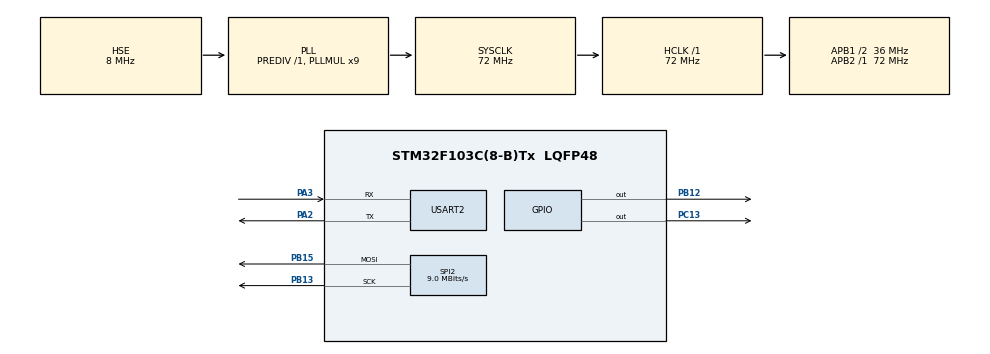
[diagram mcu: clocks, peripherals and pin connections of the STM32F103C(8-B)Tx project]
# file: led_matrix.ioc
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Dma.Request0=SPI2_TX
Dma.Request1=USART2_RX
Dma.SPI2_TX.0.Direction=DMA_MEMORY_TO_PERIPH
Dma.SPI2_TX.0.Instance=DMA1_Channel5
Dma.SPI2_TX.0.MemDataAlignment=DMA_MDATAALIGN_BYTE
Dma.SPI2_TX.0.MemInc=DMA_MINC_ENABLE
Dma.SPI2_TX.0.Mode=DMA_NORMAL
Dma.SPI2_TX.0.PeriphDataAlignment=DMA_PDATAALIGN_BYTE
Dma.SPI2_TX.0.PeriphInc=DMA_PINC_DISABLE
Dma.SPI2_TX.0.Priority=DMA_PRIORITY_LOW
Dma.USART2_RX.1.Direction=DMA_PERIPH_TO_MEMORY
Dma.USART2_RX.1.Instance=DMA1_Channel6
Dma.USART2_RX.1.MemDataAlignment=DMA_MDATAALIGN_BYTE
Dma.USART2_RX.1.MemInc=DMA_MINC_ENABLE
Dma.USART2_RX.1.Mode=DMA_NORMAL
Dma.USART2_RX.1.PeriphDataAlignment=DMA_PDATAALIGN_BYTE
Dma.USART2_RX.1.PeriphInc=DMA_PINC_DISABLE
Dma.USART2_RX.1.Priority=DMA_PRIORITY_LOW
Mcu.Family=STM32F1
Mcu.Name=STM32F103C(8-B)Tx
Mcu.Package=LQFP48
NVIC.DMA1_Channel5_IRQn=true\:0\:0\:false\:false\:true\:false\:true
NVIC.DMA1_Channel6_IRQn=true\:0\:0\:false\:false\:true\:false\:true
NVIC.PriorityGroup=NVIC_PRIORITYGROUP_4
NVIC.SPI2_IRQn=true\:0\:0\:false\:false\:true\:true\:true
NVIC.USART2_IRQn=true\:0\:0\:false\:false\:true\:true\:true
PA13.Mode=Serial_Wire
PA13.Signal=SYS_JTMS-SWDIO
PA14.Mode=Serial_Wire
PA14.Signal=SYS_JTCK-SWCLK
PA2.Mode=Asynchronous
PA2.Signal=USART2_TX
PA3.Mode=Asynchronous
PA3.Signal=USART2_RX
PB12.Signal=GPIO_Output
PB13.Mode=TX_Only_Simplex_Unidirect_Master
PB13.Signal=SPI2_SCK
PB14.Signal=SPI2_MISO
PB15.Mode=TX_Only_Simplex_Unidirect_Master
PB15.Signal=SPI2_MOSI
PC13-TAMPER-RTC.Signal=GPIO_Output
PD0-OSC_IN.Mode=HSE-External-Oscillator
PD0-OSC_IN.Signal=RCC_OSC_IN
PD1-OSC_OUT.Mode=HSE-External-Oscillator
PD1-OSC_OUT.Signal=RCC_OSC_OUT
ProjectManager.HeapSize=0x200
ProjectManager.StackSize=0x400
ProjectManager.TargetToolchain=STM32CubeIDE
RCC.AHBFreq_Value=72000000
RCC.APB1CLKDivider=RCC_HCLK_DIV2
RCC.APB1Freq_Value=36000000
RCC.APB1TimFreq_Value=72000000
RCC.APB2Freq_Value=72000000
RCC.APB2TimFreq_Value=72000000
RCC.HCLKFreq_Value=72000000
RCC.PLLMUL=RCC_PLL_MUL9
RCC.PLLSourceVirtual=RCC_PLLSOURCE_HSE
RCC.SYSCLKFreq_VALUE=72000000
RCC.SYSCLKSource=RCC_SYSCLKSOURCE_PLLCLK
RCC.USBFreq_Value=72000000
SPI2.BaudRatePrescaler=SPI_BAUDRATEPRESCALER_4
SPI2.CalculateBaudRate=9.0 MBits/s
SPI2.Direction=SPI_DIRECTION_2LINES
SPI2.Mode=SPI_MODE_MASTER
SPI2.VirtualType=VM_MASTER
USART2.VirtualMode=VM_ASYNC
board=custom

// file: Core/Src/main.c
/* USER CODE BEGIN Header */
/**
  ******************************************************************************
  * @file           : main.c
  * @brief          : Main program body
  ******************************************************************************
  * @attention
  *
  * <h2><center>&copy; Copyright (c) 2023 STMicroelectronics.
  * All rights reserved.</center></h2>
  *
  * This software component is licensed by ST under BSD 3-Clause license,
  * the "License"; You may not use this file except in compliance with the
  * License. You may obtain a copy of the License at:
  *                        opensource.org/licenses/BSD-3-Clause
  *
  ******************************************************************************
  */
/* USER CODE END Header */
#include "main.h"

/* USER CODE BEGIN Includes */
#include "stdio.h"
#include "stdlib.h"
/* USER CODE END Includes */

/* USER CODE BEGIN PD */
#define NUM_HOR_MODULE		4 		// number of horizontal modules
#define SPEED				80		// character running speed (ms)
#define NUM_CHAR			100		// maximum number of character
// Max7219's registers address
#define MAX7219_REG_ADD_DECODEMODE		0x09
#define MAX7219_REG_ADD_INTENSITY		0x0A
#define MAX7219_REG_ADD_SCANLIMIT		0x0B
#define MAX7219_REG_ADD_SHUTDOWN		0x0C
#define MAX7219_REG_ADD_DISPLAYTEST		0x0F

// Shutdown register's value
#define MAX7219_SHUTDOWN_MODE			0x00
#define MAX7219_NO_SHUTDOWN_MODE		0x01

// Decode-mode register's value
// what digits will be decoded
#define MAX7219_NO_DECODE				0x00
#define MAX7219_DECODE_DIGIT_0			0x01
#define MAX7219_DECODE_DIGIT_3_0		0x0F
#define MAX7219_DECODE_ALL_DIGIT		0xFF

// Intensity register's value
// Level of intensity
#define MAX7219_INTENSITY_1_32			0x00
#define MAX7219_INTENSITY_3_32			0x01
#define MAX7219_INTENSITY_5_32			0x02
#define MAX7219_INTENSITY_7_32			0x03
#define MAX7219_INTENSITY_9_32			0x04
#define MAX7219_INTENSITY_11_32			0x05
#define MAX7219_INTENSITY_13_32			0x06
#define MAX7219_INTENSITY_15_32			0x07
#define MAX7219_INTENSITY_17_32			0x08
#define MAX7219_INTENSITY_19_32			0x09
#define MAX7219_INTENSITY_21_32			0x0A
#define MAX7219_INTENSITY_23_32			0x0B
#define MAX7219_INTENSITY_25_32			0x0C
#define MAX7219_INTENSITY_27_32			0x0D
#define MAX7219_INTENSITY_29_32			0x0E
#define MAX7219_INTENSITY_31_32			0x0F

// Scan-limit register's value
// Number of displayed digit, start from digit 0
#define MAX7219_DISPLAY_1_DIGIT			0x00
#define MAX7219_DISPLAY_2_DIGIT			0x01
#define MAX7219_DISPLAY_3_DIGIT			0x02
#define MAX7219_DISPLAY_4_DIGIT			0x03
#define MAX7219_DISPLAY_5_DIGIT			0x04
#define MAX7219_DISPLAY_6_DIGIT			0x05
#define MAX7219_DISPLAY_7_DIGIT			0x06
#define MAX7219_DISPLAY_8_DIGIT			0x07

// Display-test register's value
#define MAX7219_DISPLAY_NORMAL			0x00
#define MAX7219_DISPLAY_TEST			0x01

/* USER CODE END PD */

SPI_HandleTypeDef hspi2;
DMA_HandleTypeDef hdma_spi2_tx;

UART_HandleTypeDef huart2;
DMA_HandleTypeDef hdma_usart2_rx;

/* USER CODE BEGIN PV */
//8px by 8px, row major, little endian
const uint8_t FONT [128][8] = {
	    { 0x00, 0x00, 0x00, 0x00, 0x00, 0x00, 0x00, 0x00},	// U+0000 (nul)
	    { 0x00, 0x00, 0x00, 0x00, 0x00, 0x00, 0x00, 0x00},  // U+0001
	    { 0x00, 0x00, 0x00, 0x00, 0x00, 0x00, 0x00, 0x00},  // U+0002
	    { 0x00, 0x00, 0x00, 0x00, 0x00, 0x00, 0x00, 0x00},  // U+0003
	    { 0x00, 0x00, 0x00, 0x00, 0x00, 0x00, 0x00, 0x00},  // U+0004
	    { 0x00, 0x00, 0x00, 0x00, 0x00, 0x00, 0x00, 0x00},  // U+0005
	    { 0x00, 0x00, 0x00, 0x00, 0x00, 0x00, 0x00, 0x00},  // U+0006
	    { 0x00, 0x00, 0x00, 0x00, 0x00, 0x00, 0x00, 0x00},  // U+0007
	    { 0x00, 0x00, 0x00, 0x00, 0x00, 0x00, 0x00, 0x00},  // U+0008
	    { 0x00, 0x00, 0x00, 0x00, 0x00, 0x00, 0x00, 0x00},  // U+0009
	    { 0x00, 0x00, 0x00, 0x00, 0x00, 0x00, 0x00, 0x00},  // U+000A
	    { 0x00, 0x00, 0x00, 0x00, 0x00, 0x00, 0x00, 0x00},  // U+000B
	    { 0x00, 0x00, 0x00, 0x00, 0x00, 0x00, 0x00, 0x00},  // U+000C
	    { 0x00, 0x00, 0x00, 0x00, 0x00, 0x00, 0x00, 0x00},  // U+000D
	    { 0x00, 0x00, 0x00, 0x00, 0x00, 0x00, 0x00, 0x00},  // U+000E
	    { 0x00, 0x00, 0x00, 0x00, 0x00, 0x00, 0x00, 0x00},  // U+000F
	    { 0x00, 0x00, 0x00, 0x00, 0x00, 0x00, 0x00, 0x00},  // U+0010
	    { 0x00, 0x00, 0x00, 0x00, 0x00, 0x00, 0x00, 0x00},  // U+0011
	    { 0x00, 0x00, 0x00, 0x00, 0x00, 0x00, 0x00, 0x00},  // U+0012
	    { 0x00, 0x00, 0x00, 0x00, 0x00, 0x00, 0x00, 0x00},  // U+0013
	    { 0x00, 0x00, 0x00, 0x00, 0x00, 0x00, 0x00, 0x00},  // U+0014
	    { 0x00, 0x00, 0x00, 0x00, 0x00, 0x00, 0x00, 0x00},  // U+0015
	    { 0x00, 0x00, 0x00, 0x00, 0x00, 0x00, 0x00, 0x00},  // U+0016
	    { 0x00, 0x00, 0x00, 0x00, 0x00, 0x00, 0x00, 0x00},  // U+0017
	    { 0x00, 0x00, 0x00, 0x00, 0x00, 0x00, 0x00, 0x00},  // U+0018
	    { 0x00, 0x00, 0x00, 0x00, 0x00, 0x00, 0x00, 0x00},  // U+0019
	    { 0x00, 0x00, 0x00, 0x00, 0x00, 0x00, 0x00, 0x00},  // U+001A
	    { 0x00, 0x00, 0x00, 0x00, 0x00, 0x00, 0x00, 0x00},  // U+001B
	    { 0x00, 0x00, 0x00, 0x00, 0x00, 0x00, 0x00, 0x00},  // U+001C
	    { 0x00, 0x00, 0x00, 0x00, 0x00, 0x00, 0x00, 0x00},  // U+001D
	    { 0x00, 0x00, 0x00, 0x00, 0x00, 0x00, 0x00, 0x00},  // U+001E
	    { 0x00, 0x00, 0x00, 0x00, 0x00, 0x00, 0x00, 0x00},  // U+001F
	    { 0x00, 0x00, 0x00, 0x00, 0x00, 0x00, 0x00, 0x00},	// U+0020 (space)
		{0x00,0x04,0x04,0x04,0x04,0x04,0x00,0x04},			// U+0021 (!)
		{0x00,0x36,0x36,0x12,0x00,0x00,0x00,0x00},			// U+0022 (")
		{0x00,0x14,0x3E,0x14,0x14,0x3E,0x14,0x00},			// U+0023 (#)
		{0x00,0x04,0x1C,0x02,0x0C,0x10,0x0E,0x08},			// U+0024 ($)
		{0x00,0x26,0x26,0x10,0x08,0x04,0x32,0x32},			// U+0025 (%)
		{0x00,0x04,0x0A,0x0A,0x04,0x2A,0x12,0x2C},			// U+0026 (&)
		{0x00,0x0C,0x0C,0x04,0x00,0x00,0x00,0x00},			// U+0027 (')
		{0x00,0x08,0x04,0x04,0x04,0x04,0x04,0x08},			// U+0028 (()
		{0x00,0x04,0x08,0x08,0x08,0x08,0x08,0x04},			// U+0029 ())
		{0x00,0x00,0x2A,0x1C,0x3E,0x1C,0x2A,0x00},			// U+001A (*)
		{0x00,0x00,0x08,0x08,0x3E,0x08,0x08,0x00},			// U+001B (+)
		{0x00,0x00,0x00,0x00,0x00,0x0C,0x08,0x04},			// U+001C (,)
		{0x00,0x00,0x00,0x00,0x3E,0x00,0x00,0x00},			// U+001D (-)
		{0x00,0x00,0x00,0x00,0x00,0x00,0x0C,0x0C},			// U+001E (.)
		{0x00,0x00,0x20,0x10,0x08,0x04,0x02,0x00},			// U+001E (/)
		{0x00,0x1C,0x22,0x32,0x2A,0x26,0x22,0x1C},   		// U+0030 (0)
		{0x00,0x08,0x0C,0x08,0x08,0x08,0x08,0x1C},   		// U+0031 (1)
	    {0x00,0x1C,0x22,0x20,0x18,0x04,0x02,0x3E},   		// U+0032 (2)
	    {0x00,0x1C,0x22,0x20,0x1C,0x20,0x22,0x1C},   		// U+0033 (3)
	    {0x00,0x10,0x18,0x14,0x12,0x3E,0x10,0x10},   		// U+0034 (4)
	    {0x00,0x3E,0x02,0x02,0x1E,0x20,0x22,0x1C},   		// U+0035 (5)
	    {0x00,0x18,0x04,0x02,0x1E,0x22,0x22,0x1C},   		// U+0036 (6)
	    {0x00,0x3E,0x20,0x10,0x08,0x04,0x04,0x04},   		// U+0037 (7)
	    {0x00,0x1C,0x22,0x22,0x1C,0x22,0x22,0x1C},   		// U+0038 (8)
	    {0x00,0x1C,0x22,0x22,0x3C,0x20,0x10,0x0C},   		// U+0039 (9)
		{0x00,0x00,0x00,0x0C,0x0C,0x00,0x0C,0x0C},   		// U+003A (:)
		{0x00,0x00,0x0C,0x0C,0x00,0x0C,0x08,0x04},   		// U+003B (;)
		{0x00,0x10,0x08,0x04,0x02,0x04,0x08,0x10},   		// U+003C (<)
		{0x00,0x00,0x00,0x3E,0x00,0x00,0x3E,0x00},   		// U+003D (=)
		{0x00,0x04,0x08,0x10,0x20,0x10,0x08,0x04},   		// U+003E (>)
		{0x00,0x1C,0x22,0x20,0x18,0x08,0x00,0x08},   		// U+003F (?)
		{0x00,0x1C,0x22,0x3A,0x2A,0x3A,0x02,0x1C},   		// U+0040 (@)
		{0x00,0x1C,0x22,0x22,0x22,0x3E,0x22,0x22},			// U+0041 (A)
		{0x00,0x1E,0x22,0x22,0x1E,0x22,0x22,0x1E},			// U+0042 (B)
		{0x00,0x1C,0x22,0x02,0x02,0x02,0x22,0x1C},			// U+0043 (C)
		{0x00,0x1E,0x22,0x22,0x22,0x22,0x22,0x1E},   		// U+0044 (D)
		{0x00,0x3E,0x02,0x02,0x1E,0x02,0x02,0x3E},   		// U+0045 (E)
		{0x00,0x3E,0x02,0x02,0x1E,0x02,0x02,0x02},   		// U+0046 (F)
		{0x00,0x1C,0x22,0x02,0x3A,0x22,0x22,0x3C},   		// U+0047 (G)
		{0x00,0x22,0x22,0x22,0x3E,0x22,0x22,0x22},   		// U+0048 (H)
		{0x00,0x1C,0x08,0x08,0x08,0x08,0x08,0x1C},   		// U+0049 (I)
		{0x00,0x20,0x20,0x20,0x20,0x22,0x22,0x1C},   		// U+004A (J)
		{0x00,0x22,0x12,0x0A,0x06,0x0A,0x12,0x22},   		// U+004B (K)
		{0x00,0x02,0x02,0x02,0x02,0x02,0x02,0x3E},   		// U+004C (L)
		{0x00,0x22,0x36,0x2A,0x22,0x22,0x22,0x22},   		// U+004D (M)
		{0x00,0x22,0x26,0x2A,0x32,0x22,0x22,0x22},   		// U+004E (N)
		{0x00,0x1C,0x22,0x22,0x22,0x22,0x22,0x1C},   		// U+004F (O)
		{0x00,0x1E,0x22,0x22,0x1E,0x02,0x02,0x02},   		// U+0050 (P)
		{0x00,0x1C,0x22,0x22,0x22,0x2A,0x12,0x2C},   		// U+0051 (Q)
		{0x00,0x1E,0x22,0x22,0x1E,0x12,0x22,0x22},   		// U+0052 (R)
		{0x00,0x1C,0x22,0x02,0x1C,0x20,0x22,0x1C},   		// U+0053 (S)
		{0x00,0x3E,0x08,0x08,0x08,0x08,0x08,0x08},   		// U+0054 (T)
		{0x00,0x22,0x22,0x22,0x22,0x22,0x22,0x1C},  		// U+0055 (U)
		{0x00,0x22,0x22,0x22,0x22,0x22,0x14,0x08},   		// U+0056 (V)
		{0x00,0x22,0x22,0x2A,0x2A,0x2A,0x2A,0x14}, 			// U+0057 (W)
		{0x00,0x22,0x22,0x14,0x08,0x14,0x22,0x22}, 	  		// U+0058 (X)
		{0x00,0x22,0x22,0x22,0x14,0x08,0x08,0x08},   		// U+0059 (Y)
		{0x00,0x1E,0x10,0x08,0x04,0x02,0x02,0x1E},   		// U+005A (Z)
		{0x00,0x0C,0x04,0x04,0x04,0x04,0x04,0x0C},   		// U+005B ([)
		{0x00,0x00,0x02,0x04,0x08,0x10,0x20,0x00},   		// U+005C (\)
		{0x00,0x18,0x10,0x10,0x10,0x10,0x10,0x18},   		// U+005D (])
		{0x00,0x08,0x14,0x22,0x00,0x00,0x00,0x00},   		// U+005E (^)
		{0x00,0x00,0x00,0x00,0x00,0x00,0x00,0x3E},   		// U+005F (_)
		{0x00,0x02,0x04,0x00,0x00,0x00,0x00,0x00},   		// U+0060 (`)
		{0x00,0x00,0x00,0x1C,0x20,0x3C,0x22,0x3C},   		// U+0061 (a)
		{0x00,0x02,0x02,0x1E,0x22,0x22,0x22,0x1E},  		// U+0062 (b)
		{0x00,0x00,0x00,0x1C,0x02,0x02,0x02,0x1C},   		// U+0063 (c)
		{0x00,0x20,0x20,0x3C,0x22,0x22,0x22,0x3C},   		// U+0064 (d)
		{0x00,0x00,0x00,0x1C,0x22,0x1E,0x02,0x1C},   		// U+0065 (e)
		{0x00,0x18,0x04,0x04,0x1E,0x04,0x04,0x04},   		// U+0066 (f)
		{0x00,0x00,0x3C,0x22,0x22,0x3C,0x20,0x1C},   		// U+0067 (g)
		{0x00,0x02,0x02,0x0E,0x12,0x12,0x12,0x12},   		// U+0068 (h)
		{0x00,0x08,0x00,0x08,0x08,0x08,0x08,0x18},   		// U+0069 (i)
		{0x10,0x00,0x18,0x10,0x10,0x10,0x12,0x0C},   		// U+006A (j)
		{0x00,0x02,0x02,0x12,0x0A,0x06,0x0A,0x12},   		// U+006B (k)
		{0x00,0x08,0x08,0x08,0x08,0x08,0x08,0x18},   		// U+006C (l)
		{0x00,0x00,0x00,0x16,0x2A,0x2A,0x22,0x22},   		// U+006D (m)
		{0x00,0x00,0x00,0x0E,0x12,0x12,0x12,0x12},   		// U+006E (n)
		{0x00,0x00,0x00,0x1C,0x22,0x22,0x22,0x1C},   		// U+006F (o)
		{0x00,0x00,0x1E,0x22,0x22,0x1E,0x02,0x02},   		// U+0070 (p)
		{0x00,0x00,0x3C,0x22,0x22,0x3C,0x20,0x20},   		// U+0071 (q)
		{0x00,0x00,0x00,0x1A,0x24,0x04,0x04,0x0E},   		// U+0072 (r)
		{0x00,0x00,0x00,0x1C,0x02,0x1C,0x20,0x1C},   		// U+0073 (s)
		{0x00,0x00,0x04,0x1E,0x04,0x04,0x14,0x08},  		// U+0074 (t)
		{0x00,0x00,0x00,0x12,0x12,0x12,0x1A,0x14},  		// U+0075 (u)
		{0x00,0x00,0x00,0x22,0x22,0x22,0x14,0x08},   		// U+0076 (v)
		{0x00,0x00,0x00,0x22,0x22,0x2A,0x3E,0x14},   		// U+0077 (w)
		{0x00,0x00,0x00,0x12,0x12,0x0C,0x12,0x12},   		// U+0078 (x)
		{0x00,0x00,0x12,0x12,0x12,0x1C,0x08,0x06},   		// U+0079 (y)
		{0x00,0x00,0x00,0x1E,0x10,0x0C,0x02,0x1E},   		// U+007A (z)
		{0x00,0x18,0x04,0x04,0x06,0x04,0x04,0x18},   		// U+007B ({)
		{0x00,0x08,0x08,0x08,0x08,0x08,0x08,0x08},   		// U+007C (|)
		{0x00,0x0c,0x10,0x10,0x30,0x10,0x10,0x0c},   		// U+007D (})
		{0x00,0x14,0x0a,0x00,0x00,0x00,0x00,0x00},   		// U+007E (~)
		{0x00,0x00,0x00,0x00,0x00,0x00,0x00,0x00}    		// U+007F
};

uint8_t uart_rx_buf[NUM_CHAR];
uint8_t *output_arr;
uint8_t uart_rx_pointer = 0;
uint8_t uart_rx = 0;
uint8_t num_char_out;		//number of characters
/* USER CODE END PV */

void SystemClock_Config(void);
static void MX_GPIO_Init(void);
static void MX_DMA_Init(void);
static void MX_SPI2_Init(void);
static void MX_USART2_UART_Init(void);
/* USER CODE BEGIN PFP */
void rotate (uint8_t *output);
void data_to_module (uint8_t *output );
void init_max7219(void);
void ascii_to_matrix (uint8_t buf[], uint8_t pointer, uint8_t *output);
/* USER CODE END PFP */

/* USER CODE BEGIN 0 */
void HAL_SPI_TxCpltCallback(SPI_HandleTypeDef *hspi)
{
	if(hspi->Instance == hspi2.Instance)
	{
		HAL_GPIO_WritePin(GPIOB, GPIO_PIN_12, 1);
		HAL_GPIO_WritePin(GPIOB, GPIO_PIN_12, 0);
	}
}

void HAL_UART_RxCpltCallback(UART_HandleTypeDef *huart)
{
	uint8_t i,j;
	if(huart->Instance == huart2.Instance)
	{
		if (uart_rx =='\n'){
			free(output_arr);
			output_arr = (uint8_t *)malloc((uart_rx_pointer+4)*8*sizeof(uint8_t));
			for (i=0; i<(4+uart_rx_pointer); i++){
				for (j=0; j<8; j++){
					*(output_arr+i*8+j) = 0;
				}
			}
			ascii_to_matrix (uart_rx_buf, uart_rx_pointer,  output_arr);
			uart_rx_pointer = 0;

		}
		else{
			uart_rx_buf[uart_rx_pointer] = uart_rx;
			uart_rx_pointer++;

		}
		HAL_UART_Receive_DMA(&huart2, &uart_rx, 1);
	}
}
void ascii_to_matrix (uint8_t buf[NUM_CHAR], uint8_t pointer, uint8_t *output){
	uint8_t i,j;
	num_char_out = pointer+4;
	for (i=0; i<4;i++){
		for (j=0;j<8;j++){
			*(output_arr+i*8+j) = 0x00;
		}
	}
	for (i=0; i<(pointer+4); i++){
		for(j = 0; j<8; j++){
			*(output_arr+(4+i)*8+j) = FONT[buf[i]][j];
		}
	}

}
// push data to module
void data_to_module (uint8_t *output ){
	uint32_t i;
	int32_t j;
	for (i = 0; i<8; i++){
		uint8_t temp_data[2*NUM_HOR_MODULE];
		for(j = 0; j< NUM_HOR_MODULE;j++){
			temp_data[2*j] = i+1;
			temp_data[2*j+1] = *(output + (NUM_HOR_MODULE-j-1)*8 +(7-i));
			HAL_SPI_Transmit_DMA(&hspi2, temp_data, 2*NUM_HOR_MODULE);
		}

	}

}
// rotate the bit to the right
void rotate (uint8_t *output){
	uint32_t i, j;
	uint8_t smark [num_char_out];

	for (j=0; j<8; j++){
		smark[0] = *(output + j) & 0x01;
		smark[0] = smark[0] << 07;

		smark[num_char_out-1] = *(output + 8*(num_char_out-1)+j) & 0x01;
		smark[num_char_out-1] = smark[num_char_out-1] << 07;
		*(output + 8*(num_char_out-1)+j) = *(output + 8*(num_char_out-1)+j) >> 1;
		*(output + 8*(num_char_out-1)+j) |= smark[0];

		for (i = num_char_out-2; i>0; i--){
			smark[i] = *(output + 8*i+j) & 0x01;
			smark[i] = smark[i] << 07;
			*(output + 8*i+j)= *(output + 8*i+j) >> 1;
			*(output + 8*i+j) |= smark[i+1];
		}

		*(output+j) = *(output+j) >> 1;
		*(output+j) |= smark[1];
	}
}
void init_max7219(void){
	uint8_t i;
	for (i = 0; i < NUM_HOR_MODULE; i++){
			uint8_t temp_data[2] = {MAX7219_REG_ADD_DECODEMODE, MAX7219_NO_DECODE};
			HAL_SPI_Transmit_DMA(&hspi2, temp_data, 2);
	}
	for (i = 0; i < NUM_HOR_MODULE; i++){
			uint8_t temp_data[2] = {MAX7219_REG_ADD_INTENSITY, MAX7219_INTENSITY_7_32};
			HAL_SPI_Transmit_DMA(&hspi2, temp_data, 2);
	}
	for (i = 0; i < NUM_HOR_MODULE; i++){
			uint8_t temp_data[2] = {MAX7219_REG_ADD_SCANLIMIT, MAX7219_DISPLAY_8_DIGIT};
			HAL_SPI_Transmit_DMA(&hspi2, temp_data, 2);
	}
	for (i = 0; i < NUM_HOR_MODULE; i++){
			uint8_t temp_data[2] = {MAX7219_REG_ADD_SHUTDOWN, MAX7219_NO_SHUTDOWN_MODE};
			HAL_SPI_Transmit_DMA(&hspi2, temp_data, 2);
	}
	for (i = 0; i < NUM_HOR_MODULE; i++){
			uint8_t temp_data[2] = {MAX7219_REG_ADD_DISPLAYTEST, MAX7219_DISPLAY_NORMAL};
			HAL_SPI_Transmit_DMA(&hspi2, temp_data, 2);
	}
}
/* USER CODE END 0 */

int main(void)
{

  /* MCU Configuration--------------------------------------------------------*/

  /* Reset of all peripherals, Initializes the Flash interface and the Systick. */
  HAL_Init();

  /* Configure the system clock */
  SystemClock_Config();

  /* Initialize all configured peripherals */
  MX_GPIO_Init();
  MX_DMA_Init();
  MX_SPI2_Init();
  MX_USART2_UART_Init();
  /* USER CODE BEGIN 2 */
  uint32_t timer = 0;
  init_max7219();
  HAL_UART_Receive_DMA(&huart2, &uart_rx, 1);
  /* USER CODE END 2 */

  /* Infinite loop */
  while (1)
  {

    /* USER CODE BEGIN 3 */

	  if ((HAL_GetTick()-timer >= SPEED)&&(output_arr != NULL)&&(num_char_out != 0)){
		  rotate (output_arr);
		  data_to_module(output_arr);
		  timer=HAL_GetTick();
	  }
  }
  /* USER CODE END 3 */
}

void SystemClock_Config(void)
{
  RCC_OscInitTypeDef RCC_OscInitStruct = {0};
  RCC_ClkInitTypeDef RCC_ClkInitStruct = {0};

  /** Initializes the RCC Oscillators according to the specified parameters
  * in the RCC_OscInitTypeDef structure.
  */
  RCC_OscInitStruct.OscillatorType = RCC_OSCILLATORTYPE_HSE;
  RCC_OscInitStruct.HSEState = RCC_HSE_ON;
  RCC_OscInitStruct.HSEPredivValue = RCC_HSE_PREDIV_DIV1;
  RCC_OscInitStruct.HSIState = RCC_HSI_ON;
  RCC_OscInitStruct.PLL.PLLState = RCC_PLL_ON;
  RCC_OscInitStruct.PLL.PLLSource = RCC_PLLSOURCE_HSE;
  RCC_OscInitStruct.PLL.PLLMUL = RCC_PLL_MUL9;
  if (HAL_RCC_OscConfig(&RCC_OscInitStruct) != HAL_OK)
  {
    Error_Handler();
  }
  /** Initializes the CPU, AHB and APB buses clocks
  */
  RCC_ClkInitStruct.ClockType = RCC_CLOCKTYPE_HCLK|RCC_CLOCKTYPE_SYSCLK
                              |RCC_CLOCKTYPE_PCLK1|RCC_CLOCKTYPE_PCLK2;
  RCC_ClkInitStruct.SYSCLKSource = RCC_SYSCLKSOURCE_PLLCLK;
  RCC_ClkInitStruct.AHBCLKDivider = RCC_SYSCLK_DIV1;
  RCC_ClkInitStruct.APB1CLKDivider = RCC_HCLK_DIV2;
  RCC_ClkInitStruct.APB2CLKDivider = RCC_HCLK_DIV1;

  if (HAL_RCC_ClockConfig(&RCC_ClkInitStruct, FLASH_LATENCY_2) != HAL_OK)
  {
    Error_Handler();
  }
}

static void MX_SPI2_Init(void)
{

  /* SPI2 parameter configuration*/
  hspi2.Instance = SPI2;
  hspi2.Init.Mode = SPI_MODE_MASTER;
  hspi2.Init.Direction = SPI_DIRECTION_2LINES;
  hspi2.Init.DataSize = SPI_DATASIZE_8BIT;
  hspi2.Init.CLKPolarity = SPI_POLARITY_LOW;
  hspi2.Init.CLKPhase = SPI_PHASE_1EDGE;
  hspi2.Init.NSS = SPI_NSS_SOFT;
  hspi2.Init.BaudRatePrescaler = SPI_BAUDRATEPRESCALER_4;
  hspi2.Init.FirstBit = SPI_FIRSTBIT_MSB;
  hspi2.Init.TIMode = SPI_TIMODE_DISABLE;
  hspi2.Init.CRCCalculation = SPI_CRCCALCULATION_DISABLE;
  hspi2.Init.CRCPolynomial = 10;
  if (HAL_SPI_Init(&hspi2) != HAL_OK)
  {
    Error_Handler();
  }

}

static void MX_USART2_UART_Init(void)
{

  huart2.Instance = USART2;
  huart2.Init.BaudRate = 115200;
  huart2.Init.WordLength = UART_WORDLENGTH_8B;
  huart2.Init.StopBits = UART_STOPBITS_1;
  huart2.Init.Parity = UART_PARITY_NONE;
  huart2.Init.Mode = UART_MODE_TX_RX;
  huart2.Init.HwFlowCtl = UART_HWCONTROL_NONE;
  huart2.Init.OverSampling = UART_OVERSAMPLING_16;
  if (HAL_UART_Init(&huart2) != HAL_OK)
  {
    Error_Handler();
  }

}

static void MX_DMA_Init(void)
{

  /* DMA controller clock enable */
  __HAL_RCC_DMA1_CLK_ENABLE();

  /* DMA interrupt init */
  /* DMA1_Channel5_IRQn interrupt configuration */
  HAL_NVIC_SetPriority(DMA1_Channel5_IRQn, 0, 0);
  HAL_NVIC_EnableIRQ(DMA1_Channel5_IRQn);
  /* DMA1_Channel6_IRQn interrupt configuration */
  HAL_NVIC_SetPriority(DMA1_Channel6_IRQn, 0, 0);
  HAL_NVIC_EnableIRQ(DMA1_Channel6_IRQn);

}

static void MX_GPIO_Init(void)
{
  GPIO_InitTypeDef GPIO_InitStruct = {0};

  /* GPIO Ports Clock Enable */
  __HAL_RCC_GPIOC_CLK_ENABLE();
  __HAL_RCC_GPIOD_CLK_ENABLE();
  __HAL_RCC_GPIOA_CLK_ENABLE();
  __HAL_RCC_GPIOB_CLK_ENABLE();

  /*Configure GPIO pin Output Level */
  HAL_GPIO_WritePin(GPIOC, GPIO_PIN_13, GPIO_PIN_RESET);

  /*Configure GPIO pin Output Level */
  HAL_GPIO_WritePin(GPIOB, GPIO_PIN_12, GPIO_PIN_RESET);

  /*Configure GPIO pin : PC13 */
  GPIO_InitStruct.Pin = GPIO_PIN_13;
  GPIO_InitStruct.Mode = GPIO_MODE_OUTPUT_PP;
  GPIO_InitStruct.Pull = GPIO_NOPULL;
  GPIO_InitStruct.Speed = GPIO_SPEED_FREQ_LOW;
  HAL_GPIO_Init(GPIOC, &GPIO_InitStruct);

  /*Configure GPIO pin : PB12 */
  GPIO_InitStruct.Pin = GPIO_PIN_12;
  GPIO_InitStruct.Mode = GPIO_MODE_OUTPUT_PP;
  GPIO_InitStruct.Pull = GPIO_NOPULL;
  GPIO_InitStruct.Speed = GPIO_SPEED_FREQ_LOW;
  HAL_GPIO_Init(GPIOB, &GPIO_InitStruct);

}

void Error_Handler(void)
{
  __disable_irq();
  while (1)
  {
  }
}

/************************ (C) COPYRIGHT STMicroelectronics *****END OF FILE****/
